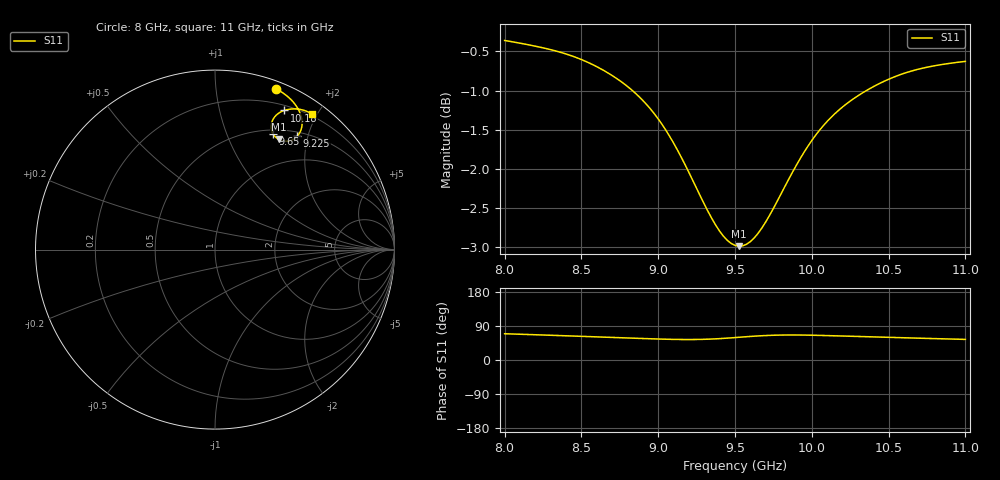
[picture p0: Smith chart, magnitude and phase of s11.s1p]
! NobuRF balanis-ex14.1-patch-far-field-ground-120mm-ff: port "feed", 5800 steps
# GHz S RI R 50
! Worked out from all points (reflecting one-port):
!   121 points, 8 GHz to 11 GHz, reference 50 ohm
!   lowest |S11| = -3.0 dB at 9.525 GHz (marker M1), VSWR 5.87, Z = 31.4 + j77.4 ohm
!   phase of S11 starts at 69 deg and turns -15 deg over the sweep
!   S11 on the Smith chart (normalised r, x): 8 GHz: 0.06, +1.45; 9.225 GHz: 0.56, +1.82; 9.65 GHz: 0.55, +1.47; 10.18 GHz: 0.26, +1.58; 11 GHz: 0.17, +1.93
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8  0.3393 0.8975
8.2  0.3774 0.8733
8.375  0.4098 0.8484
8.575  0.4438 0.8124
8.75  0.4678 0.7739
8.875  0.4802 0.7414
8.975  0.4851 0.7116
9.05  0.4841 0.6873
9.125  0.4774 0.6625
9.225  0.4583 0.6322
9.3  0.4365 0.6149
9.375  0.4101 0.605
9.425  0.3912 0.6035
9.5  0.3635 0.6094
9.525  0.355 0.6135
9.6  0.3332 0.631
9.65  0.3227 0.6462
9.75  0.3132 0.6807
9.8  0.3142 0.6981
9.875  0.3217 0.7221
9.95  0.3346 0.742
10.025  0.3508 0.7572
10.175  0.3856 0.7752
10.25  0.4025 0.7798
10.425  0.4399 0.784
10.625  0.4799 0.7799
10.8  0.5109 0.7704
11  0.5418 0.7563
